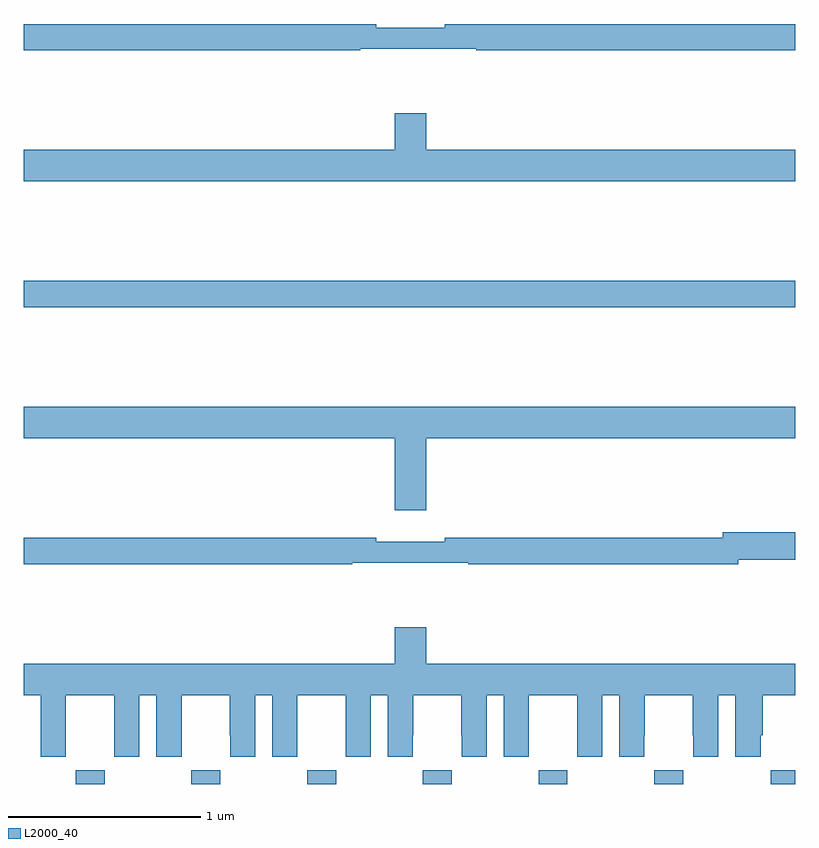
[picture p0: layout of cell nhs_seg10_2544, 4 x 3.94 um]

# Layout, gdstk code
import gdstk
lib = gdstk.Library(unit=1e-6, precision=1e-09)
def R(c, l, rs):  # rectangles x0, y0, x1, y1
    for r in rs: c.add(gdstk.rectangle(r[:2], r[2:], *l))
def A(c, l, x, y, w, h, nx, ny, dx, dy):  # array of equal rectangles
    R(c, l, [(x+i*dx, y+j*dy, x+i*dx+w, y+j*dy+h) for i in range(nx) for j in range(ny)])
def P(c, l, *ps):  # polygons
    for p in ps: c.add(gdstk.Polygon(p, *l))
L2000_40 = (2000, 40)

nhs_seg10_2544 = lib.new_cell('nhs_seg10_2544')
A(nhs_seg10_2544, L2000_40, 247.269, 1322.5, 0.15, 0.072, 6, 1, 0.6, 0)
R(nhs_seg10_2544, L2000_40, [(250.873,1322.5,251,1322.572), (247,1324.972,251,1325.108)])
P(nhs_seg10_2544, L2000_40, [(248.745,1326.312),(249.345,1326.312),(249.345,1326.304),(251,1326.304),(251,1326.44),(249.184,1326.44),(249.184,1326.421),(248.828,1326.421),(248.828,1326.44),(247,1326.44),(247,1326.304),(248.745,1326.304)],
  [(251,1325.788),(249.088,1325.788),(249.088,1325.977),(248.924,1325.977),(248.924,1325.788),(247,1325.788),(247,1325.624),(251,1325.624)],
  [(249.088,1324.292),(251,1324.292),(251,1324.456),(247,1324.456),(247,1324.292),(248.924,1324.292),(248.924,1323.918),(249.088,1323.918)],
  [(248.704,1323.648),(249.304,1323.648),(249.304,1323.64),(250.704,1323.64),(250.704,1323.662),(251,1323.662),(251,1323.804),(250.625,1323.804),(250.625,1323.776),(249.184,1323.776),(249.184,1323.757),(248.828,1323.757),(248.828,1323.776),(247,1323.776),(247,1323.64),(248.704,1323.64)],
  [(247.218,1322.752),(247.219,1322.752),(247.219,1322.96),(247.469,1322.96),(247.469,1322.752),(247.47,1322.752),(247.47,1322.64),(247.6,1322.64),(247.6,1322.96),(247.688,1322.96),(247.688,1322.64),(247.818,1322.64),(247.818,1322.752),(247.819,1322.752),(247.819,1322.96),(248.069,1322.96),(248.069,1322.752),(248.07,1322.752),(248.07,1322.64),(248.2,1322.64),(248.2,1322.96),(248.288,1322.96),(248.288,1322.64),(248.418,1322.64),(248.418,1322.752),(248.419,1322.752),(248.419,1322.96),(248.669,1322.96),(248.669,1322.752),(248.67,1322.752),(248.67,1322.64),(248.8,1322.64),(248.8,1322.96),(248.888,1322.96),(248.888,1322.64),(249.018,1322.64),(249.018,1322.752),(249.019,1322.752),(249.019,1322.96),(249.269,1322.96),(249.269,1322.752),(249.27,1322.752),(249.27,1322.64),(249.4,1322.64),(249.4,1322.96),(249.488,1322.96),(249.488,1322.64),(249.618,1322.64),(249.618,1322.752),(249.619,1322.752),(249.619,1322.96),(249.869,1322.96),(249.869,1322.752),(249.87,1322.752),(249.87,1322.64),(250,1322.64),(250,1322.96),(250.088,1322.96),(250.088,1322.64),(250.218,1322.64),(250.218,1322.752),(250.219,1322.752),(250.219,1322.96),(250.469,1322.96),(250.469,1322.752),(250.47,1322.752),(250.47,1322.64),(250.6,1322.64),(250.6,1322.96),(250.688,1322.96),(250.688,1322.64),(250.822,1322.64),(250.822,1322.752),(250.832,1322.752),(250.832,1322.96),(251,1322.96),(251,1323.124),(249.088,1323.124),(249.088,1323.313),(248.924,1323.313),(248.924,1323.124),(247,1323.124),(247,1322.96),(247.088,1322.96),(247.088,1322.64),(247.218,1322.64)])

lib.write_gds('nhs_seg10_2544.gds')
